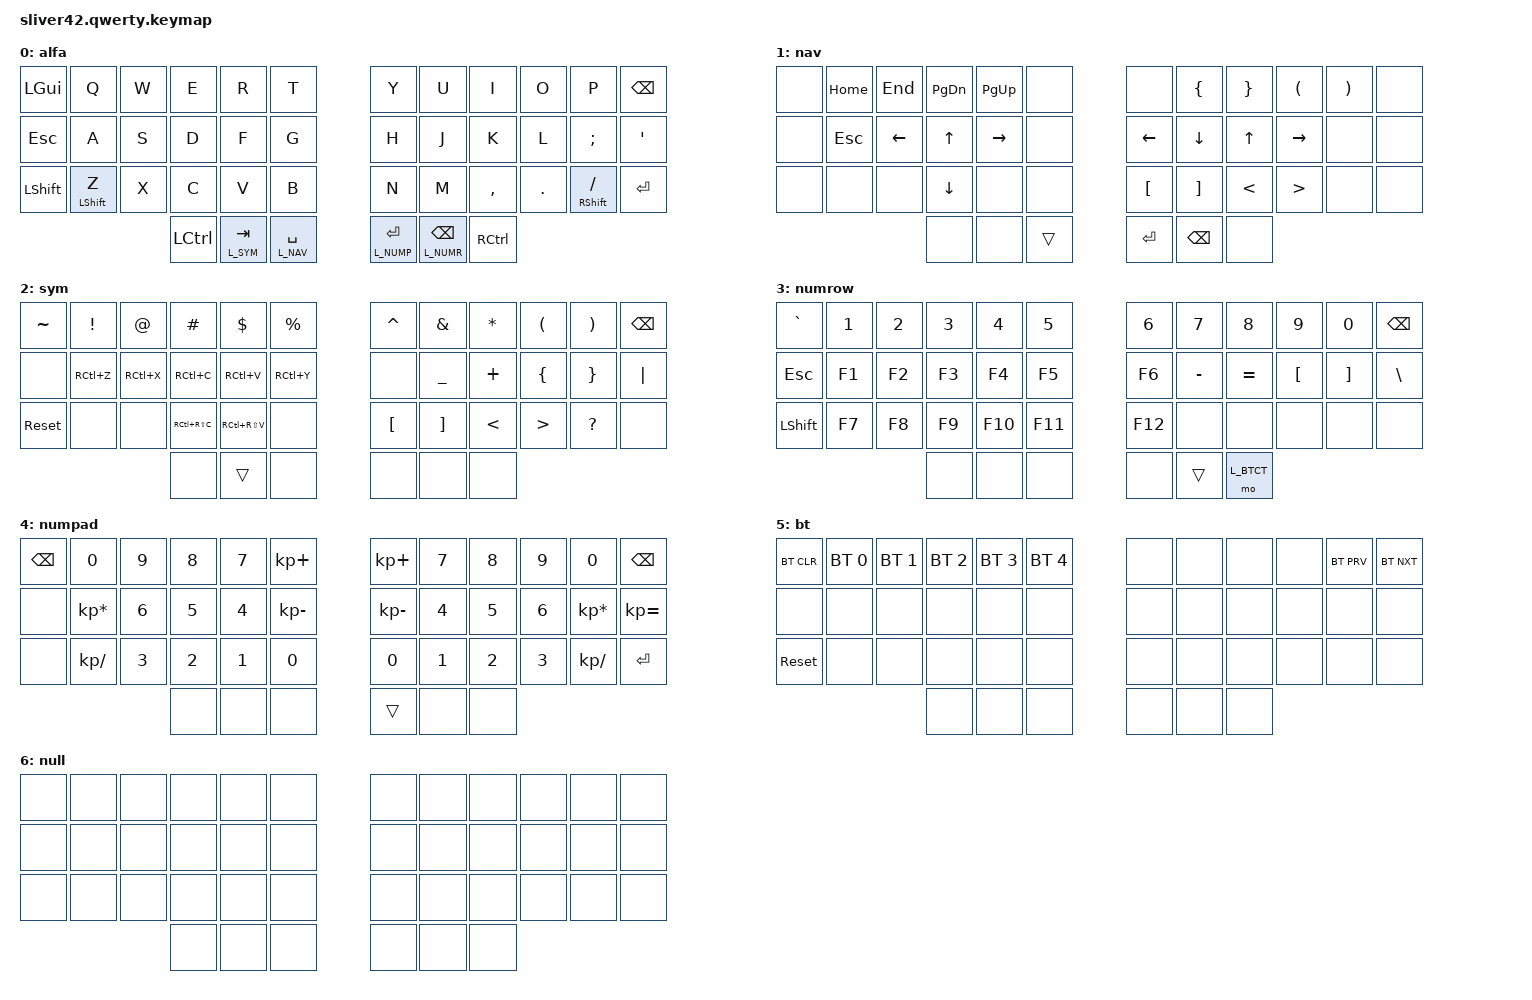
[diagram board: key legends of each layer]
#include <behaviors.dtsi>
#include <dt-bindings/zmk/bt.h>
#include <dt-bindings/zmk/keys.h>

#define L_ALFA 0
#define L_NAV 1
#define L_SYM 2 
#define L_NUMR 3
#define L_NUMP 4
#define L_BTCT 5
#define L_NULL 8

/ {
    keymap {
        compatible = "zmk,keymap";

        alfa {
            bindings = <
    &kp LEFT_GUI  &kp Q     &kp W   &kp E     &kp R       &kp T      &kp Y     &kp U        &kp I     &kp O     &kp P    &kp BSPC
    &kp ESC       &kp A             &kp S    &kp D     &kp F       &kp G      &kp H     &kp J        &kp K     &kp L     &kp SEMI  &kp SQT
    &kp LSHFT     &mt LEFT_SHIFT Z  &kp X    &kp C     &kp V       &kp B      &kp N     &kp M        &kp COMMA &kp DOT   &mt RIGHT_SHIFT SLASH &kp ENTER
                                       &kp LCTRL  &lt L_SYM TAB  &lt L_NAV SPACE  &lt L_NUMP ENTER  &lt L_NUMR BSPC  &kp RCTRL
            >;
        };

        nav {
            bindings = <
&none  &kp HOME  &kp END   &kp PG_DN  &kp PG_UP  &none   &none      &kp LBRC  &kp RBRC  &kp LPAR   &kp RPAR  &none
&none  &kp ESC   &kp LEFT  &kp UP     &kp RIGHT  &none   &kp LEFT   &kp DOWN  &kp UP    &kp RIGHT  &none     &none
&none  &none     &none     &kp DOWN   &none      &none   &kp LBKT   &kp RBKT  &kp LT    &kp GT     &none     &none
                           &none      &none      &trans  &kp ENTER  &kp BSPC  &none
            >;
        };

        sym {
            bindings = <
&kp TILDE   &kp EXCL  &kp AT  &kp HASH   &kp DOLLAR  &kp PERCENT  &kp CARET  &kp AMPS  &kp ASTRK  &kp LPAR  &kp RPAR  &kp  BSPC
&none       &kp RC(Z)  &kp RC(X)  &kp RC(C)  &kp RC(V)   &kp RC(Y)  &none  &kp UNDER  &kp PLUS  &kp LBRC  &kp RBRC  &kp PIPE
&sys_reset  &none  &none  &kp RC(RS(C))  &kp RC(RS(V))   &none  &kp LBKT  &kp RBKT  &kp LT    &kp GT     &kp QMARK     &none
                     &none  &trans  &none  &none  &none  &none
            >;
        };

        numrow {
            bindings = <
&kp GRAVE  &kp N1  &kp N2  &kp N3     &kp N4   &kp N5   &kp N6      &kp N7     &kp N8      &kp N9    &kp N0    &kp BSPC
&kp ESC    &kp F1  &kp F2  &kp F3     &kp F4   &kp F5   &kp F6      &kp MINUS  &kp EQUAL   &kp LBKT  &kp RBKT  &kp BACKSLASH
&kp LSHFT  &kp F7  &kp F8  &kp F9     &kp F10  &kp F11  &kp F12     &none      &none       &none     &none     &none
                           &none      &none    &none    &none       &trans     &mo L_BTCT
            >;
        };

        numpad {
            bindings = <
&kp BSPC  &kp N0           &kp N9  &kp N8  &kp N7  &kp KP_PLUS   &kp KP_PLUS   &kp N7  &kp N8  &kp N9  &kp N0           &kp BSPC
&none     &kp KP_MULTIPLY  &kp N6  &kp N5  &kp N4  &kp KP_MINUS  &kp KP_MINUS  &kp N4  &kp N5  &kp N6  &kp KP_MULTIPLY  &kp KP_EQUAL
&none     &kp KP_DIVIDE    &kp N3  &kp N2  &kp N1  &kp N0        &kp N0        &kp N1  &kp N2  &kp N3  &kp KP_DIVIDE    &kp ENTER
                                   &none   &none   &none         &trans        &none   &none
            >;
        };

        bt {
            bindings = <
&bt BT_CLR  &bt BT_SEL 0  &bt BT_SEL 1  &bt BT_SEL 2  &bt BT_SEL 3  &bt BT_SEL 4  &none  &none  &none  &none  &bt BT_PRV  &bt BT_NXT
&none       &none         &none         &none         &none         &none         &none  &none  &none  &none  &none       &none
&sys_reset  &none         &none         &none         &none         &none         &none  &none  &none  &none  &none       &none
                                        &none         &none         &none         &none  &none  &none
            >;
        };

        null {
            bindings = <
&none  &none  &none  &none  &none  &none  &none  &none  &none  &none  &none  &none
&none  &none  &none  &none  &none  &none  &none  &none  &none  &none  &none  &none
&none  &none  &none  &none  &none  &none  &none  &none  &none  &none  &none  &none
                     &none  &none  &none  &none  &none  &none
            >;
        };

    };
};
